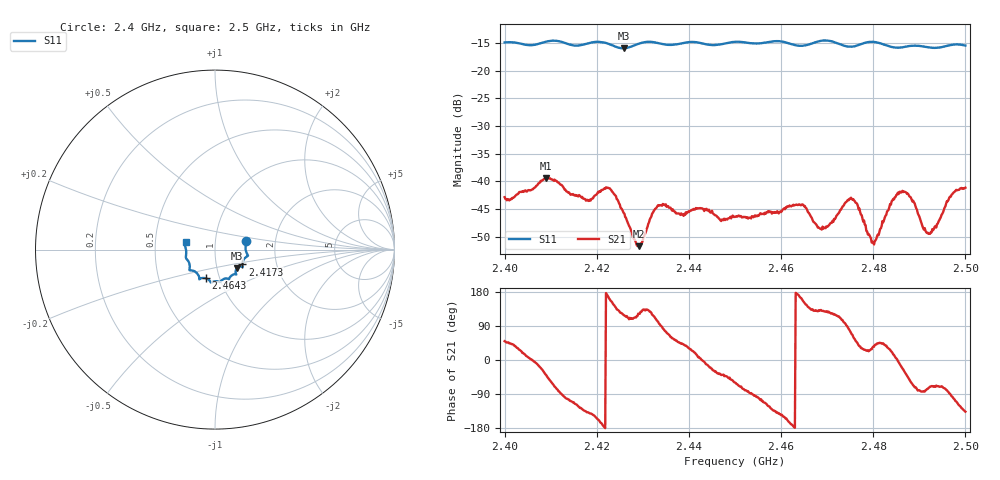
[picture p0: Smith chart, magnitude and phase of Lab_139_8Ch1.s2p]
# Hz S RI R 50
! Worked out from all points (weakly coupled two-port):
!   601 points, 2.4 GHz to 2.5 GHz, reference 50 ohm
!   highest |S21| = -39.40 dB at 2.409 GHz (marker M1); lowest = -51.7 dB at 2.4292 GHz (marker M2)
!   lowest |S11| = -15.9 dB at 2.4258 GHz (marker M3), VSWR 1.38, Z = 62.3 - j13.2 ohm
!   |S11| at or under -10 dB: start of sweep to end of sweep
!   S12 and S22 are empty: the file has one direction only
!   S11 on the Smith chart (normalised r, x): 2.4 GHz: 1.41, +0.14; 2.4173 GHz: 1.34, -0.23; 2.4643 GHz: 0.86, -0.28; 2.5 GHz: 0.72, +0.06
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2.4e9  0.1735 0.049  0.00464 0.00547  0 0  0 0
2.409e9  0.1811 -0.0279  0.0083 -0.00679  0 0  0 0
2.416667e9  0.1533 -0.0749  -0.0044 -0.00563  0 0  0 0
2.417333e9  0.1526 -0.0825  -0.00482 -0.005  0 0  0 0
2.4225e9  0.1482 -0.0941  -0.00848 0.00199  0 0  0 0
2.425833e9  0.1216 -0.1033  -0.00249 0.00453  0 0  0 0
2.429167e9  0.116 -0.1321  -0.00135 0.0022  0 0  0 0
2.433333e9  0.113 -0.1371  -0.00108 0.00598  0 0  0 0
2.4425e9  0.072 -0.163  0.0057 0.000413  0 0  0 0
2.447e9  0.0401 -0.1688  0.00337 -0.00278  0 0  0 0
2.45e9  0.0292 -0.1804  0.00241 -0.00409  0 0  0 0
2.464333e9  -0.0501 -0.1603  -0.00582 0.00169  0 0  0 0
2.466667e9  -0.0759 -0.1592  -0.00317 0.00341  0 0  0 0
2.469667e9  -0.0877 -0.1662  -0.00232 0.00296  0 0  0 0
2.475333e9  -0.109 -0.1239  0.00259 0.00644  0 0  0 0
2.480167e9  -0.143 -0.113  0.00219 0.00154  0 0  0 0
2.483333e9  -0.1406 -0.09  0.00478 0.00279  0 0  0 0
2.485333e9  -0.1462 -0.0688  0.00788 -0.000322  0 0  0 0
2.487167e9  -0.156 -0.0553  0.00618 -0.00492  0 0  0 0
2.492167e9  -0.1607 -0.0235  0.00101 -0.00319  0 0  0 0
2.497e9  -0.1694 0.0261  -0.000721 -0.00752  0 0  0 0
2.5e9  -0.1636 0.0415  -0.00632 -0.00604  0 0  0 0
